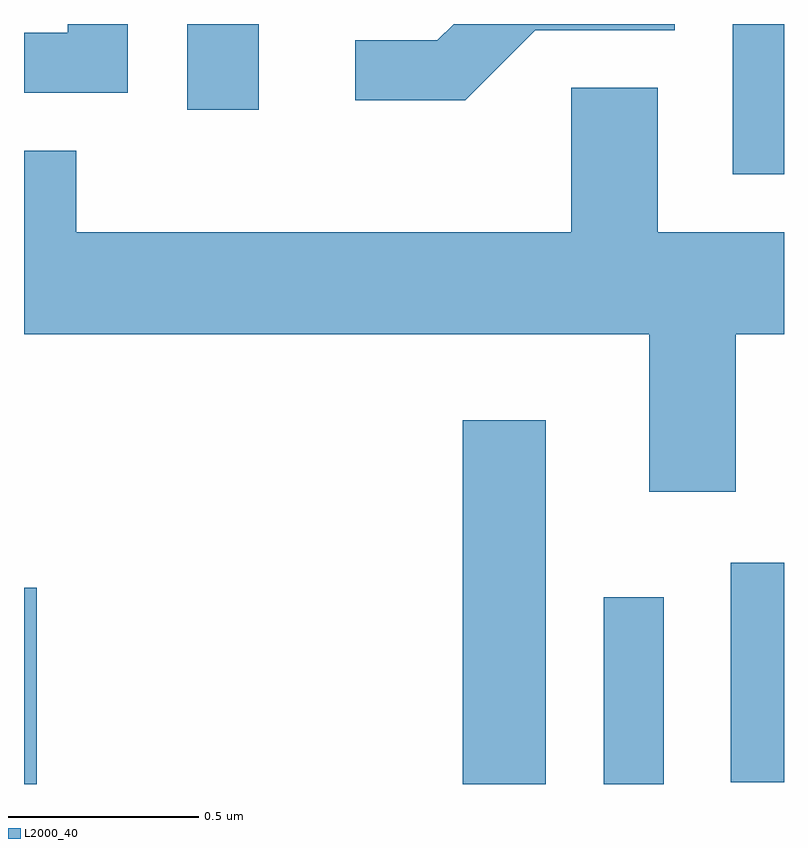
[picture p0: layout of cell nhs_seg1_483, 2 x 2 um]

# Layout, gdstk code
import gdstk
lib = gdstk.Library(unit=1e-6, precision=1e-09)
def R(c, l, rs):  # rectangles x0, y0, x1, y1
    for r in rs: c.add(gdstk.rectangle(r[:2], r[2:], *l))
def P(c, l, *ps):  # polygons
    for p in ps: c.add(gdstk.Polygon(p, *l))
L2000_40 = (2000, 40)

nhs_seg1_483 = lib.new_cell('nhs_seg1_483')
R(nhs_seg1_483, L2000_40, [(188.611,911.712,188.644,912.229), (189.766,911.712,189.984,912.669), (190.136,911.712,190.294,912.203), (190.471,911.716,190.611,912.294), (190.476,913.316,190.611,913.712), (189.041,913.486,189.229,913.712)])
P(nhs_seg1_483, L2000_40, [(188.884,913.712),(188.726,913.712),(188.726,913.689),(188.611,913.689),(188.611,913.531),(188.884,913.531)],
  [(189.957,913.696),(190.324,913.696),(190.324,913.712),(189.742,913.712),(189.699,913.669),(189.483,913.669),(189.483,913.511),(189.772,913.511)],
  [(190.484,912.896),(190.611,912.896),(190.611,913.164),(190.279,913.164),(190.279,913.544),(190.051,913.544),(190.051,913.164),(188.749,913.164),(188.749,913.379),(188.611,913.379),(188.611,912.896),(190.256,912.896),(190.256,912.481),(190.484,912.481)])

lib.write_gds('nhs_seg1_483.gds')
